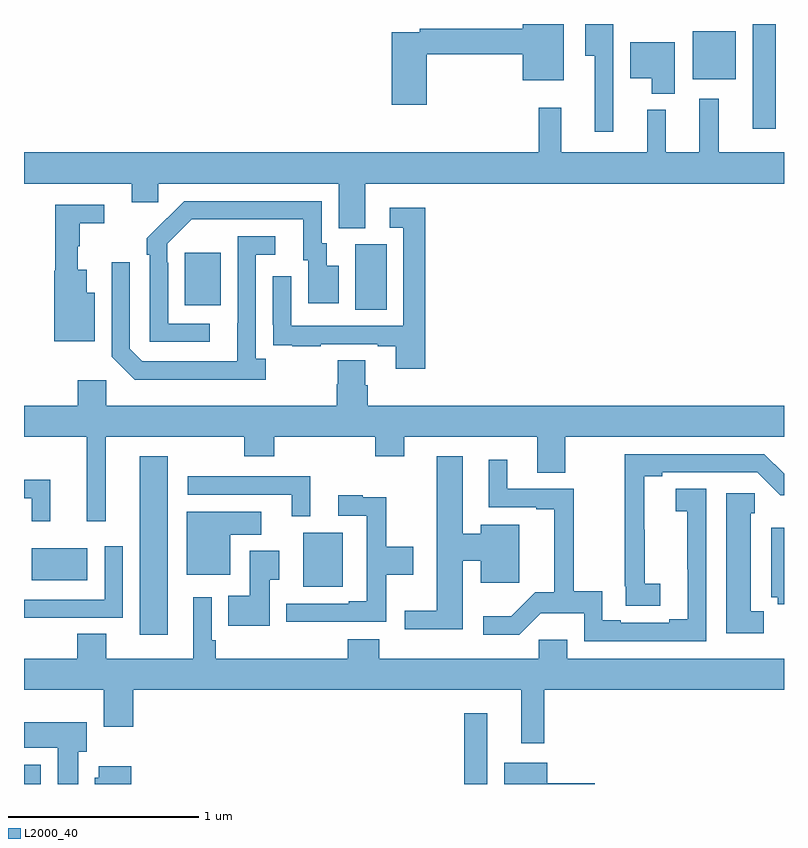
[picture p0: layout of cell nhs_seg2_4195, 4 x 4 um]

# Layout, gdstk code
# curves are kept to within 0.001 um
import gdstk
lib = gdstk.Library(unit=1e-6, precision=1e-09)
def R(c, l, rs):  # rectangles x0, y0, x1, y1
    for r in rs: c.add(gdstk.rectangle(r[:2], r[2:], *l))
def P(c, l, *ps):  # polygons
    for p in ps: c.add(gdstk.Polygon(p, *l))
L2000_40 = (2000, 40)

nhs_seg2_4195 = lib.new_cell('nhs_seg2_4195')
R(nhs_seg2_4195, L2000_40, [(337,653.8,337.089,653.902), (339.318,653.8,339.439,654.172), (337.61,654.585,337.756,655.525), (338.471,654.839,338.677,655.123), (337.04,654.872,337.333,655.042), (338.744,656.296,338.908,656.64), (337.847,656.321,338.035,656.596), (340.835,657.249,340.957,657.8), (340.52,657.509,340.747,657.763)])
P(nhs_seg2_4195, L2000_40, [(339.119,657.64),(339.626,657.64),(339.626,657.503),(339.841,657.503),(339.841,657.8),(339.626,657.8),(339.626,657.776),(339.082,657.776),(339.082,657.756),(338.936,657.756),(338.936,657.375),(339.119,657.375)],
  [(340.101,657.8),(339.953,657.8),(339.953,657.632),(340.004,657.632),(340.004,657.234),(340.101,657.234)],
  [(340.426,657.703),(340.19,657.703),(340.19,657.515),(340.304,657.515),(340.304,657.434),(340.426,657.434)],
  [(338.797,656.96),(341,656.96),(341,657.124),(340.657,657.124),(340.657,657.406),(340.553,657.406),(340.553,657.124),(340.378,657.124),(340.378,657.349),(340.28,657.349),(340.28,657.124),(339.827,657.124),(339.827,657.358),(339.709,657.358),(339.709,657.124),(337,657.124),(337,656.96),(337.568,656.96),(337.568,656.862),(337.707,656.862),(337.707,656.96),(338.657,656.96),(338.657,656.725),(338.797,656.725)],
  [(337.978,656.223),(337.758,656.223),(337.758,656.543),(337.755,656.543),(337.755,656.643),(337.884,656.772),(338.471,656.772),(338.471,656.556),(338.495,656.556),(338.495,656.331),(338.656,656.331),(338.656,656.527),(338.593,656.527),(338.593,656.646),(338.568,656.646),(338.568,656.868),(337.844,656.868),(337.647,656.673),(337.647,656.585),(337.662,656.585),(337.662,656.127),(337.978,656.127)],
  [(337.372,656.386),(337.33,656.386),(337.33,656.506),(337.283,656.506),(337.283,656.63),(337.294,656.63),(337.294,656.752),(337.423,656.752),(337.423,656.85),(337.165,656.85),(337.165,656.502),(337.16,656.502),(337.16,656.129),(337.372,656.129)],
  [(339.113,656.833),(338.925,656.833),(338.925,656.727),(338.997,656.727),(338.997,656.211),(338.406,656.211),(338.406,656.473),(338.31,656.473),(338.31,656.218),(338.311,656.218),(338.311,656.109),(338.413,656.109),(338.413,656.103),(338.561,656.103),(338.561,656.115),(338.861,656.115),(338.861,656.103),(338.957,656.103),(338.957,655.986),(339.113,655.986)],
  [(338.272,656.038),(338.22,656.038),(338.22,656.586),(338.323,656.586),(338.323,656.682),(338.124,656.682),(338.123,656.025),(337.623,656.025),(337.557,656.091),(337.557,656.545),(337.461,656.545),(337.461,656.049),(337.582,655.928),(338.272,655.928)],
  [(337.43,655.628),(338.158,655.628),(338.158,655.526),(338.318,655.526),(338.318,655.628),(338.849,655.628),(338.849,655.526),(339.001,655.526),(339.001,655.628),(339.701,655.628),(339.701,655.438),(339.849,655.438),(339.849,655.628),(341,655.628),(341,655.792),(338.81,655.792),(338.81,655.898),(338.797,655.898),(338.797,656.03),(338.65,656.03),(338.65,655.905),(338.645,655.905),(338.645,655.792),(337.434,655.792),(337.434,655.924),(337.283,655.924),(337.283,655.792),(337,655.792),(337,655.628),(337.331,655.628),(337.331,655.182),(337.43,655.182)],
  [(340.348,654.854),(340.266,654.854),(340.264,655.42),(340.36,655.42),(340.36,655.44),(340.86,655.44),(340.981,655.319),(341,655.319),(341,655.432),(340.896,655.536),(340.162,655.536),(340.162,654.841),(340.168,654.841),(340.168,654.739),(340.348,654.739)],
  [(339.31,654.976),(339.404,654.976),(339.404,654.86),(339.607,654.86),(339.607,655.165),(339.404,655.165),(339.404,655.118),(339.31,655.118),(339.31,655.525),(339.173,655.525),(339.173,654.713),(339.003,654.713),(339.003,654.614),(339.31,654.614)],
  [(340.59,655.355),(340.431,655.355),(340.431,655.235),(340.492,655.235),(340.493,654.668),(340.397,654.668),(340.397,654.648),(340.141,654.648),(340.141,654.662),(340.044,654.662),(340.044,654.815),(339.893,654.815),(339.893,655.353),(339.544,655.353),(339.544,655.507),(339.446,655.507),(339.446,655.257),(339.695,655.257),(339.695,655.245),(339.791,655.245),(339.791,654.808),(339.691,654.808),(339.565,654.682),(339.417,654.682),(339.417,654.585),(339.606,654.585),(339.719,654.698),(339.948,654.698),(339.948,654.552),(340.59,654.552)],
  [(338.506,655.419),(337.863,655.419),(337.863,655.323),(338.408,655.323),(338.408,655.208),(338.506,655.208)],
  [(337.139,655.401),(337,655.401),(337,655.305),(337.041,655.305),(337.041,655.182),(337.139,655.182)],
  [(340.894,654.708),(340.825,654.708),(340.825,655.224),(340.847,655.224),(340.847,655.33),(340.697,655.33),(340.697,654.593),(340.894,654.593)],
  [(338.621,654.654),(338.906,654.654),(338.906,654.902),(339.049,654.902),(339.049,655.05),(338.906,655.05),(338.906,655.31),(338.783,655.31),(338.783,655.321),(338.655,655.321),(338.655,655.212),(338.805,655.212),(338.805,654.763),(338.708,654.763),(338.708,654.75),(338.379,654.75),(338.379,654.653),(338.621,654.653)],
  [(338.086,655.112),(338.248,655.112),(338.248,655.234),(337.856,655.234),(337.856,654.902),(338.086,654.902)],
  [(341,655.15),(340.934,655.15),(340.934,654.782),(340.966,654.782),(340.966,654.745),(341,654.745)],
  [(337.196,654.675),(337.521,654.675),(337.521,655.051),(337.425,655.051),(337.425,654.771),(337,654.771),(337,654.674),(337.196,654.674)],
  [(338.293,654.874),(338.344,654.874),(338.344,655.027),(338.189,655.027),(338.189,654.79),(338.074,654.79),(338.074,654.632),(338.293,654.632)],
  [(339.739,654.296),(341,654.296),(341,654.46),(339.859,654.46),(339.859,654.558),(339.708,654.558),(339.708,654.46),(338.87,654.46),(338.87,654.562),(338.705,654.562),(338.705,654.46),(338.009,654.46),(338.009,654.556),(337.989,654.556),(337.989,654.784),(337.892,654.784),(337.892,654.46),(337.432,654.46),(337.432,654.59),(337.28,654.59),(337.28,654.46),(337,654.46),(337,654.296),(337.421,654.296),(337.421,654.102),(337.574,654.102),(337.574,654.296),(339.617,654.296),(339.617,654.015),(339.739,654.015)],
  [(337.285,653.97),(337.33,653.97),(337.33,654.124),(337,654.124),(337,653.99),(337.178,653.99),(337.178,653.8),(337.285,653.8)],
  [(340.003,653.805),(339.754,653.805),(339.754,653.911),(339.527,653.911),(339.527,653.8),(340.003,653.8)],
  [(337.565,653.893),(337.394,653.893),(337.394,653.832),(337.373,653.832),(337.373,653.8),(337.565,653.8)])

lib.write_gds('nhs_seg2_4195.gds')
